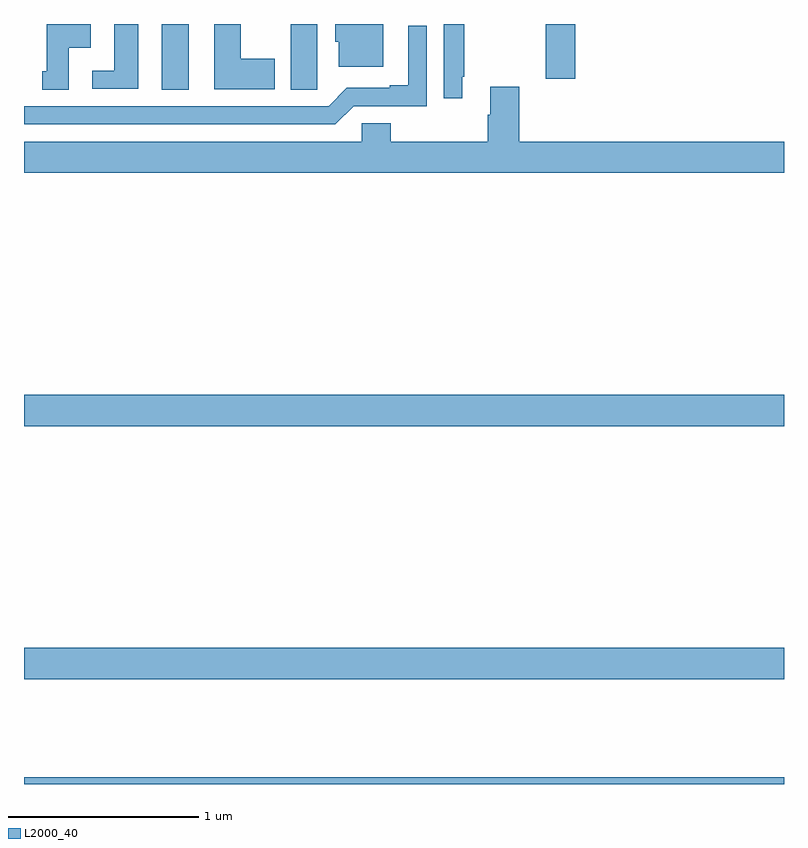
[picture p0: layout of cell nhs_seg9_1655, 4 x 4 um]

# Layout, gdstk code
import gdstk
lib = gdstk.Library(unit=1e-6, precision=1e-09)
def R(c, l, rs):  # rectangles x0, y0, x1, y1
    for r in rs: c.add(gdstk.rectangle(r[:2], r[2:], *l))
def P(c, l, *ps):  # polygons
    for p in ps: c.add(gdstk.Polygon(p, *l))
L2000_40 = (2000, 40)

nhs_seg9_1655 = lib.new_cell('nhs_seg9_1655')
R(nhs_seg9_1655, L2000_40, [(203,1230.5,207,1230.536), (203,1231.052,207,1231.216), (203,1232.384,207,1232.548), (203.726,1234.153,203.866,1234.5), (205.747,1234.212,205.901,1234.5)])
P(nhs_seg9_1655, L2000_40, [(204.319,1234.317),(204.142,1234.317),(204.142,1234.5),(204.002,1234.5),(204.002,1234.157),(204.319,1234.157)],
  [(205.306,1234.222),(205.318,1234.222),(205.318,1234.5),(205.209,1234.5),(205.209,1234.11),(205.306,1234.11)],
  [(204.892,1234.5),(204.638,1234.5),(204.638,1234.407),(204.656,1234.407),(204.656,1234.274),(204.892,1234.274)],
  [(203.602,1234.5),(203.474,1234.5),(203.474,1234.254),(203.358,1234.254),(203.358,1234.158),(203.602,1234.158)],
  [(204.543,1234.264),(204.544,1234.264),(204.544,1234.5),(204.404,1234.5),(204.404,1234.153),(204.543,1234.153)],
  [(203.236,1234.376),(203.35,1234.376),(203.35,1234.5),(203.12,1234.5),(203.12,1234.251),(203.096,1234.251),(203.096,1234.153),(203.236,1234.153)],
  [(204.735,1234.068),(205.119,1234.068),(205.119,1234.492),(205.022,1234.492),(205.022,1234.177),(204.926,1234.177),(204.926,1234.164),(204.699,1234.164),(204.603,1234.068),(203,1234.068),(203,1233.972),(204.639,1233.972)],
  [(207,1233.88),(205.607,1233.88),(205.607,1234.171),(205.454,1234.171),(205.454,1234.022),(205.442,1234.022),(205.442,1233.88),(204.929,1233.88),(204.929,1233.978),(204.777,1233.978),(204.777,1233.88),(203,1233.88),(203,1233.716),(207,1233.716)])

lib.write_gds('nhs_seg9_1655.gds')
